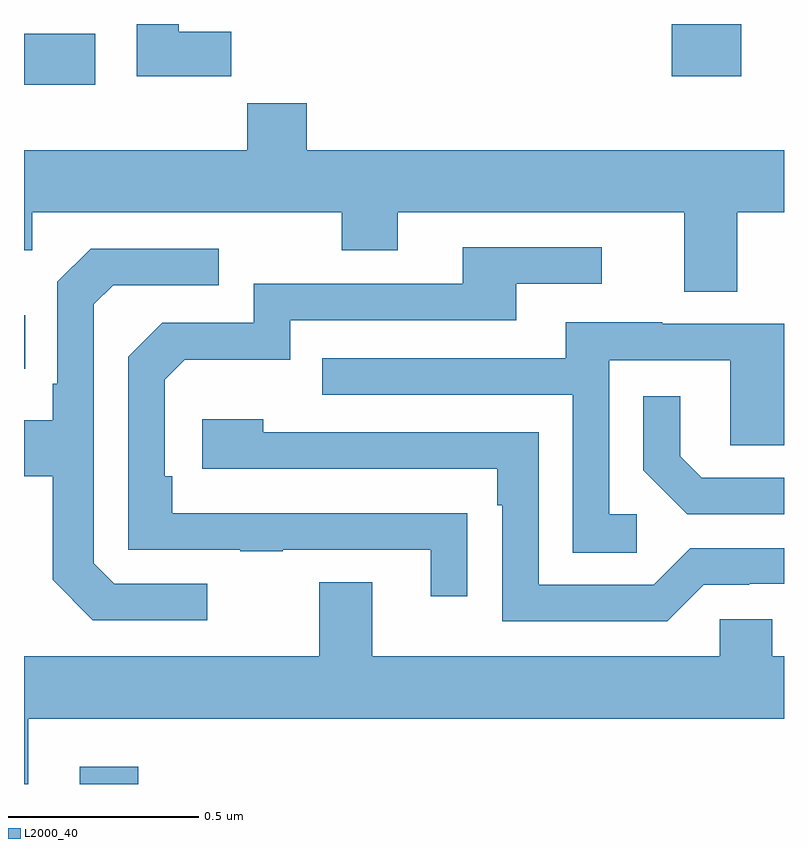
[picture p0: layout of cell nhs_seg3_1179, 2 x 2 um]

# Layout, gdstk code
import gdstk
lib = gdstk.Library(unit=1e-6, precision=1e-09)
def R(c, l, rs):  # rectangles x0, y0, x1, y1
    for r in rs: c.add(gdstk.rectangle(r[:2], r[2:], *l))
def P(c, l, *ps):  # polygons
    for p in ps: c.add(gdstk.Polygon(p, *l))
L2000_40 = (2000, 40)

nhs_seg3_1179 = lib.new_cell('nhs_seg3_1179')
R(nhs_seg3_1179, L2000_40, [(125.147,711.4,125.3,711.445), (125,712.493,125.003,712.633), (125,713.24,125.188,713.374), (126.704,713.262,126.887,713.4)])
P(nhs_seg3_1179, L2000_40, [(125.546,713.38),(125.407,713.38),(125.407,713.4),(125.297,713.4),(125.297,713.262),(125.546,713.262)],
  [(126.877,712.904),(127,712.904),(127,713.068),(125.744,713.068),(125.744,713.192),(125.587,713.192),(125.587,713.068),(125,713.068),(125,712.805),(125.022,712.805),(125.022,712.904),(125.836,712.904),(125.836,712.805),(125.983,712.805),(125.983,712.904),(126.737,712.904),(126.737,712.696),(126.877,712.696)],
  [(126.167,712.112),(126.065,712.112),(126.065,712.113),(125.39,712.113),(125.39,712.21),(125.37,712.21),(125.37,712.464),(125.423,712.517),(125.7,712.517),(125.7,712.62),(126.295,712.62),(126.295,712.716),(126.52,712.716),(126.52,712.812),(126.155,712.812),(126.155,712.716),(125.604,712.716),(125.604,712.614),(125.364,712.614),(125.274,712.524),(125.274,712.017),(125.569,712.017),(125.569,712.012),(125.681,712.012),(125.681,712.017),(126.071,712.017),(126.071,711.894),(126.167,711.894)],
  [(125.482,711.927),(125.238,711.927),(125.184,711.981),(125.184,712.662),(125.235,712.713),(125.512,712.713),(125.512,712.809),(125.175,712.809),(125.088,712.722),(125.088,712.453),(125.076,712.453),(125.076,712.357),(125,712.357),(125,712.21),(125.076,712.21),(125.076,711.937),(125.181,711.831),(125.482,711.831)],
  [(126.613,712.11),(126.54,712.11),(126.54,712.515),(126.858,712.515),(126.858,712.291),(127,712.291),(127,712.611),(126.679,712.611),(126.679,712.615),(126.425,712.615),(126.425,712.521),(125.785,712.521),(125.785,712.425),(126.444,712.425),(126.444,712.009),(126.613,712.009)],
  [(127,712.206),(126.784,712.206),(126.727,712.263),(126.727,712.42),(126.63,712.42),(126.63,712.226),(126.746,712.11),(127,712.11)],
  [(126.789,711.924),(126.908,711.924),(126.908,711.927),(127,711.927),(127,712.02),(126.753,712.02),(126.657,711.924),(126.354,711.924),(126.354,712.326),(125.63,712.326),(125.63,712.36),(125.469,712.36),(125.469,712.23),(126.245,712.23),(126.245,712.133),(126.258,712.133),(126.258,711.828),(126.693,711.828)],
  [(125.011,711.572),(127,711.572),(127,711.736),(126.969,711.736),(126.969,711.834),(126.831,711.834),(126.831,711.736),(125.917,711.736),(125.917,711.931),(125.777,711.931),(125.777,711.736),(125,711.736),(125,711.4),(125.011,711.4)])

lib.write_gds('nhs_seg3_1179.gds')
